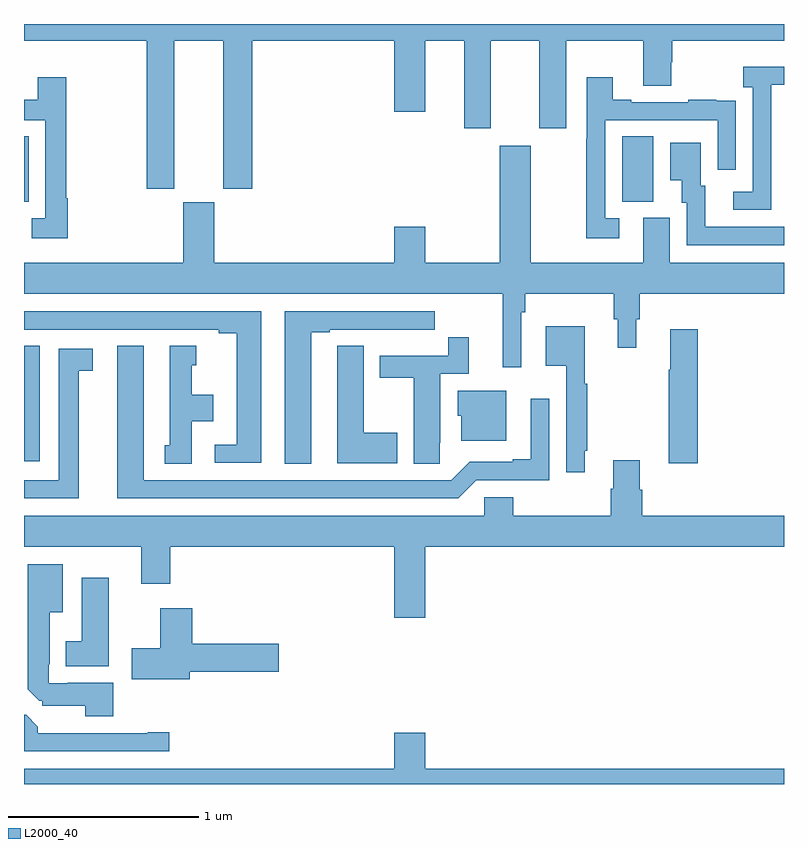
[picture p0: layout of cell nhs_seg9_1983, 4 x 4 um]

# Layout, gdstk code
import gdstk
lib = gdstk.Library(unit=1e-6, precision=1e-09)
def R(c, l, rs):  # rectangles x0, y0, x1, y1
    for r in rs: c.add(gdstk.rectangle(r[:2], r[2:], *l))
def P(c, l, *ps):  # polygons
    for p in ps: c.add(gdstk.Polygon(p, *l))
L2000_40 = (2000, 40)

nhs_seg9_1983 = lib.new_cell('nhs_seg9_1983')
R(nhs_seg9_1983, L2000_40, [(223,1202.199,223.084,1202.807), (223,1203.565,223.024,1203.908), (226.148,1203.565,226.312,1203.908)])
P(nhs_seg9_1983, L2000_40, [(223.792,1204.412),(224.048,1204.412),(224.048,1203.633),(224.201,1203.633),(224.201,1204.412),(224.948,1204.412),(224.948,1204.038),(225.112,1204.038),(225.112,1204.412),(225.317,1204.412),(225.317,1203.951),(225.457,1203.951),(225.457,1204.412),(225.713,1204.412),(225.713,1203.951),(225.853,1203.951),(225.853,1204.412),(226.259,1204.412),(226.259,1204.174),(226.407,1204.174),(226.407,1204.299),(226.412,1204.299),(226.412,1204.412),(227,1204.412),(227,1204.5),(223,1204.5),(223,1204.412),(223.645,1204.412),(223.645,1203.633),(223.792,1203.633)],
  [(226.932,1203.979),(226.933,1203.979),(226.933,1204.179),(227,1204.179),(227,1204.276),(226.785,1204.276),(226.785,1204.166),(226.836,1204.166),(226.836,1203.618),(226.734,1203.618),(226.734,1203.522),(226.932,1203.522)],
  [(223.229,1203.584),(223.222,1203.584),(223.222,1204.219),(223.073,1204.219),(223.073,1204.102),(223,1204.102),(223,1203.993),(223.113,1203.993),(223.113,1203.477),(223.041,1203.477),(223.041,1203.372),(223.229,1203.372)],
  [(226.132,1203.477),(226.059,1203.477),(226.059,1203.993),(226.65,1203.993),(226.65,1203.732),(226.746,1203.732),(226.746,1203.986),(226.745,1203.986),(226.745,1204.095),(226.643,1204.095),(226.643,1204.102),(226.495,1204.102),(226.495,1204.089),(226.195,1204.089),(226.195,1204.102),(226.099,1204.102),(226.099,1204.219),(225.963,1204.219),(225.963,1203.896),(225.958,1203.896),(225.958,1203.372),(226.132,1203.372)],
  [(227,1203.432),(226.585,1203.432),(226.585,1203.648),(226.561,1203.648),(226.561,1203.874),(226.4,1203.874),(226.4,1203.677),(226.463,1203.677),(226.463,1203.558),(226.488,1203.558),(226.488,1203.336),(227,1203.336)],
  [(225.521,1202.694),(225.618,1202.694),(225.618,1202.984),(225.638,1202.984),(225.638,1203.08),(226.105,1203.08),(226.105,1202.946),(226.124,1202.946),(226.124,1202.796),(226.222,1202.796),(226.222,1202.946),(226.241,1202.946),(226.241,1203.08),(227,1203.08),(227,1203.244),(226.399,1203.244),(226.399,1203.48),(226.259,1203.48),(226.259,1203.244),(225.667,1203.244),(225.667,1203.859),(225.503,1203.859),(225.503,1203.244),(225.112,1203.244),(225.112,1203.433),(224.948,1203.433),(224.948,1203.244),(224.002,1203.244),(224.002,1203.561),(223.838,1203.561),(223.838,1203.244),(223,1203.244),(223,1203.08),(225.521,1203.08)],
  [(224.512,1202.877),(224.608,1202.877),(224.608,1202.892),(224.884,1202.892),(224.884,1202.891),(225.05,1202.891),(225.05,1202.892),(225.163,1202.892),(225.163,1202.988),(224.372,1202.988),(224.372,1202.185),(224.512,1202.185)],
  [(224.248,1202.988),(223,1202.988),(223,1202.892),(224.024,1202.892),(224.024,1202.872),(224.12,1202.872),(224.12,1202.286),(224.004,1202.286),(224.004,1202.19),(224.248,1202.19)],
  [(225.952,1202.254),(225.964,1202.254),(225.964,1202.606),(225.952,1202.606),(225.952,1202.908),(225.746,1202.908),(225.746,1202.702),(225.855,1202.702),(225.855,1202.142),(225.952,1202.142)],
  [(226.547,1202.893),(226.4,1202.893),(226.4,1202.68),(226.393,1202.68),(226.393,1202.187),(226.547,1202.187)],
  [(225.189,1202.296),(225.19,1202.296),(225.19,1202.658),(225.341,1202.658),(225.341,1202.851),(225.232,1202.851),(225.232,1202.754),(224.873,1202.754),(224.873,1202.638),(225.05,1202.638),(225.05,1202.185),(225.189,1202.185)],
  [(224.965,1202.349),(224.788,1202.349),(224.788,1202.807),(224.649,1202.807),(224.649,1202.699),(224.648,1202.699),(224.648,1202.189),(224.965,1202.189)],
  [(225.381,1202.1),(225.765,1202.1),(225.765,1202.527),(225.668,1202.527),(225.668,1202.209),(225.572,1202.209),(225.572,1202.196),(225.345,1202.196),(225.249,1202.1),(223.63,1202.1),(223.63,1202.806),(223.49,1202.806),(223.49,1202.004),(225.285,1202.004)],
  [(223.882,1202.408),(223.996,1202.408),(223.996,1202.548),(223.882,1202.548),(223.882,1202.703),(223.906,1202.703),(223.906,1202.806),(223.766,1202.806),(223.766,1202.283),(223.742,1202.283),(223.742,1202.185),(223.882,1202.185)],
  [(223.288,1202.674),(223.363,1202.674),(223.363,1202.79),(223.184,1202.79),(223.184,1202.1),(223,1202.1),(223,1202.004),(223.288,1202.004)],
  [(225.538,1202.569),(225.284,1202.569),(225.284,1202.439),(225.302,1202.439),(225.302,1202.306),(225.538,1202.306)],
  [(225.112,1201.748),(227,1201.748),(227,1201.912),(226.253,1201.912),(226.253,1202.049),(226.24,1202.049),(226.24,1202.203),(226.1,1202.203),(226.1,1202.054),(226.088,1202.054),(226.088,1201.912),(225.575,1201.912),(225.575,1202.01),(225.423,1202.01),(225.423,1201.912),(223,1201.912),(223,1201.748),(223.616,1201.748),(223.616,1201.554),(223.769,1201.554),(223.769,1201.748),(224.948,1201.748),(224.948,1201.374),(225.112,1201.374)],
  [(223.471,1201.033),(223.231,1201.033),(223.231,1201.029),(223.131,1201.029),(223.131,1201.129),(223.135,1201.129),(223.135,1201.403),(223.204,1201.403),(223.204,1201.657),(223.019,1201.657),(223.019,1200.999),(223.079,1200.939),(223.095,1200.939),(223.095,1200.912),(223.322,1200.912),(223.322,1200.857),(223.471,1200.857)],
  [(223.447,1201.585),(223.304,1201.585),(223.304,1201.252),(223.22,1201.252),(223.22,1201.121),(223.447,1201.121)],
  [(223.873,1201.091),(224.341,1201.091),(224.341,1201.238),(223.886,1201.238),(223.886,1201.426),(223.718,1201.426),(223.718,1201.215),(223.566,1201.215),(223.566,1201.052),(223.873,1201.052)],
  [(223.765,1200.773),(223.652,1200.773),(223.652,1200.768),(223.073,1200.768),(223.073,1200.802),(223.011,1200.864),(223,1200.864),(223,1200.672),(223.765,1200.672)],
  [(227,1200.58),(225.112,1200.58),(225.112,1200.769),(224.948,1200.769),(224.948,1200.58),(223,1200.58),(223,1200.5),(227,1200.5)])

lib.write_gds('nhs_seg9_1983.gds')
